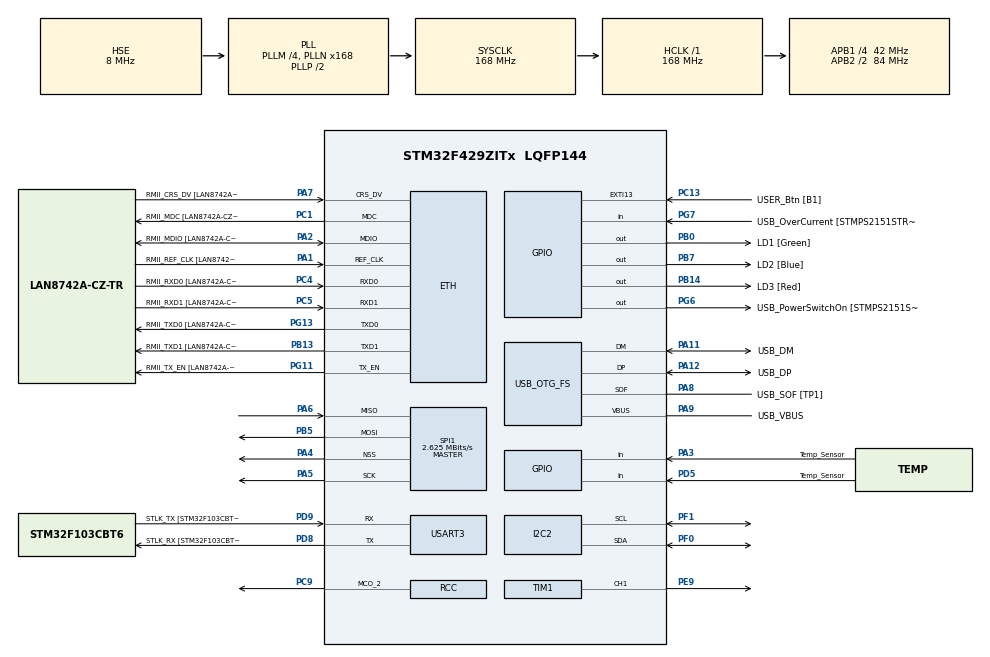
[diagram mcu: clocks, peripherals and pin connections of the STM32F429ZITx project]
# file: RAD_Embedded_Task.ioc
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Dma.I2C2_RX.2.Direction=DMA_PERIPH_TO_MEMORY
Dma.I2C2_RX.2.FIFOMode=DMA_FIFOMODE_DISABLE
Dma.I2C2_RX.2.Instance=DMA1_Stream3
Dma.I2C2_RX.2.MemDataAlignment=DMA_MDATAALIGN_BYTE
Dma.I2C2_RX.2.MemInc=DMA_MINC_ENABLE
Dma.I2C2_RX.2.Mode=DMA_NORMAL
Dma.I2C2_RX.2.PeriphDataAlignment=DMA_PDATAALIGN_BYTE
Dma.I2C2_RX.2.PeriphInc=DMA_PINC_DISABLE
Dma.I2C2_RX.2.Priority=DMA_PRIORITY_LOW
Dma.I2C2_TX.3.Direction=DMA_MEMORY_TO_PERIPH
Dma.I2C2_TX.3.FIFOMode=DMA_FIFOMODE_DISABLE
Dma.I2C2_TX.3.Instance=DMA1_Stream7
Dma.I2C2_TX.3.MemDataAlignment=DMA_MDATAALIGN_BYTE
Dma.I2C2_TX.3.MemInc=DMA_MINC_ENABLE
Dma.I2C2_TX.3.Mode=DMA_NORMAL
Dma.I2C2_TX.3.PeriphDataAlignment=DMA_PDATAALIGN_BYTE
Dma.I2C2_TX.3.PeriphInc=DMA_PINC_DISABLE
Dma.I2C2_TX.3.Priority=DMA_PRIORITY_LOW
Dma.Request0=USART3_RX
Dma.Request1=USART3_TX
Dma.Request2=I2C2_RX
Dma.Request3=I2C2_TX
Dma.Request4=TIM1_CH1
Dma.Request5=SPI1_RX
Dma.Request6=SPI1_TX
Dma.SPI1_RX.5.Direction=DMA_PERIPH_TO_MEMORY
Dma.SPI1_RX.5.FIFOMode=DMA_FIFOMODE_DISABLE
Dma.SPI1_RX.5.Instance=DMA2_Stream2
Dma.SPI1_RX.5.MemDataAlignment=DMA_MDATAALIGN_BYTE
Dma.SPI1_RX.5.MemInc=DMA_MINC_ENABLE
Dma.SPI1_RX.5.Mode=DMA_NORMAL
Dma.SPI1_RX.5.PeriphDataAlignment=DMA_PDATAALIGN_BYTE
Dma.SPI1_RX.5.PeriphInc=DMA_PINC_DISABLE
Dma.SPI1_RX.5.Priority=DMA_PRIORITY_MEDIUM
Dma.SPI1_TX.6.Direction=DMA_MEMORY_TO_PERIPH
Dma.SPI1_TX.6.FIFOMode=DMA_FIFOMODE_DISABLE
Dma.SPI1_TX.6.Instance=DMA2_Stream5
Dma.SPI1_TX.6.MemDataAlignment=DMA_MDATAALIGN_BYTE
Dma.SPI1_TX.6.MemInc=DMA_MINC_ENABLE
Dma.SPI1_TX.6.Mode=DMA_NORMAL
Dma.SPI1_TX.6.PeriphDataAlignment=DMA_PDATAALIGN_BYTE
Dma.SPI1_TX.6.PeriphInc=DMA_PINC_DISABLE
Dma.SPI1_TX.6.Priority=DMA_PRIORITY_MEDIUM
Dma.TIM1_CH1.4.Direction=DMA_MEMORY_TO_PERIPH
Dma.TIM1_CH1.4.FIFOMode=DMA_FIFOMODE_DISABLE
Dma.TIM1_CH1.4.Instance=DMA2_Stream1
Dma.TIM1_CH1.4.MemDataAlignment=DMA_MDATAALIGN_HALFWORD
Dma.TIM1_CH1.4.MemInc=DMA_MINC_ENABLE
Dma.TIM1_CH1.4.Mode=DMA_NORMAL
Dma.TIM1_CH1.4.PeriphDataAlignment=DMA_PDATAALIGN_HALFWORD
Dma.TIM1_CH1.4.PeriphInc=DMA_PINC_DISABLE
Dma.TIM1_CH1.4.Priority=DMA_PRIORITY_LOW
Dma.USART3_RX.0.Direction=DMA_PERIPH_TO_MEMORY
Dma.USART3_RX.0.FIFOMode=DMA_FIFOMODE_DISABLE
Dma.USART3_RX.0.Instance=DMA1_Stream1
Dma.USART3_RX.0.MemDataAlignment=DMA_MDATAALIGN_BYTE
Dma.USART3_RX.0.MemInc=DMA_MINC_ENABLE
Dma.USART3_RX.0.Mode=DMA_NORMAL
Dma.USART3_RX.0.PeriphDataAlignment=DMA_PDATAALIGN_BYTE
Dma.USART3_RX.0.PeriphInc=DMA_PINC_DISABLE
Dma.USART3_RX.0.Priority=DMA_PRIORITY_HIGH
Dma.USART3_TX.1.Direction=DMA_MEMORY_TO_PERIPH
Dma.USART3_TX.1.FIFOMode=DMA_FIFOMODE_DISABLE
Dma.USART3_TX.1.Instance=DMA1_Stream4
Dma.USART3_TX.1.MemDataAlignment=DMA_MDATAALIGN_BYTE
Dma.USART3_TX.1.MemInc=DMA_MINC_ENABLE
Dma.USART3_TX.1.Mode=DMA_NORMAL
Dma.USART3_TX.1.PeriphDataAlignment=DMA_PDATAALIGN_BYTE
Dma.USART3_TX.1.PeriphInc=DMA_PINC_DISABLE
Dma.USART3_TX.1.Priority=DMA_PRIORITY_HIGH
ETH.MediaInterface=HAL_ETH_RMII_MODE
ETH.PHY_Name=LAN8742A_PHY_ADDRESS
ETH.PHY_Value=0
ETH.PhyAddress=0
FATFS._MAX_SS=4096
FREERTOS.Queues01=myQueue01,16,uint16_t,0,Dynamic,NULL,NULL
FREERTOS.Tasks01=RTC_Task,1,256,Start_RTC,Default,NULL,Dynamic,NULL,NULL;UART_LEDTask,0,256,Start_UART_LED,Default,NULL,Dynamic,NULL,NULL;DataLogging_Tas,0,256,Start_DataLogging,Default,NULL,Dynamic,NULL,NULL;FanControl_Task,-1,128,Start_FanControl,Default,NULL,Dynamic,NULL,NULL;TempReading_Tas,2,128,Start_Temp,Default,NULL,Dynamic,NULL,NULL
FREERTOS.configENABLE_FPU=1
FREERTOS.configUSE_NEWLIB_REENTRANT=1
Mcu.Family=STM32F4
Mcu.Name=STM32F429ZITx
Mcu.Package=LQFP144
NVIC.DMA1_Stream1_IRQn=true\:5\:0\:false\:false\:true\:true\:false\:true\:true
NVIC.DMA1_Stream3_IRQn=true\:5\:0\:false\:false\:true\:false\:false\:true\:true
NVIC.DMA1_Stream4_IRQn=true\:5\:0\:false\:false\:true\:false\:false\:true\:true
NVIC.DMA1_Stream7_IRQn=true\:5\:0\:false\:false\:true\:true\:false\:true\:true
NVIC.DMA2_Stream1_IRQn=true\:5\:0\:false\:false\:true\:true\:false\:true\:true
NVIC.DMA2_Stream2_IRQn=true\:5\:0\:false\:false\:true\:false\:false\:true\:true
NVIC.DMA2_Stream5_IRQn=true\:5\:0\:false\:false\:true\:false\:false\:true\:true
NVIC.PriorityGroup=NVIC_PRIORITYGROUP_4
NVIC.TIM2_IRQn=true\:15\:0\:false\:false\:true\:false\:false\:true\:true
NVIC.TimeBase=TIM2_IRQn
NVIC.TimeBaseIP=TIM2
NVIC.USART3_IRQn=true\:5\:0\:false\:false\:true\:true\:true\:true\:true
PA1.GPIO_Label=RMII_REF_CLK [LAN8742A-CZ-TR_REFCLK0]
PA1.Mode=RMII
PA1.Signal=ETH_REF_CLK
PA10.GPIO_Label=USB_ID
PA10.Signal=USB_OTG_FS_ID
PA11.GPIO_Label=USB_DM
PA11.Mode=Device_Only
PA11.Signal=USB_OTG_FS_DM
PA12.GPIO_Label=USB_DP
PA12.Mode=Device_Only
PA12.Signal=USB_OTG_FS_DP
PA13.GPIO_Label=TMS
PA13.Mode=Serial_Wire
PA13.Signal=SYS_JTMS-SWDIO
PA14.GPIO_Label=TCK
PA14.Mode=Serial_Wire
PA14.Signal=SYS_JTCK-SWCLK
PA2.GPIO_Label=RMII_MDIO [LAN8742A-CZ-TR_MDIO]
PA2.Mode=RMII
PA2.Signal=ETH_MDIO
PA3.GPIO_Label=Temp_Sensor
PA3.Signal=GPIO_Input
PA4.Mode=NSS_Signal_Hard_Output
PA4.Signal=SPI1_NSS
PA5.Mode=Full_Duplex_Master
PA5.Signal=SPI1_SCK
PA6.Mode=Full_Duplex_Master
PA6.Signal=SPI1_MISO
PA7.GPIO_Label=RMII_CRS_DV [LAN8742A-CZ-TR_CRS_DV]
PA7.Mode=RMII
PA7.Signal=ETH_CRS_DV
PA8.GPIO_Label=USB_SOF [TP1]
PA8.Mode=Activate_SOF_FS
PA8.Signal=USB_OTG_FS_SOF
PA9.GPIO_Label=USB_VBUS
PA9.Mode=Activate_VBUS
PA9.Signal=USB_OTG_FS_VBUS
PB0.GPIO_Label=LD1 [Green]
PB0.Signal=GPIO_Output
PB13.GPIO_Label=RMII_TXD1 [LAN8742A-CZ-TR_TXD1]
PB13.Mode=RMII
PB13.Signal=ETH_TXD1
PB14.GPIO_Label=LD3 [Red]
PB14.Signal=GPIO_Output
PB5.Mode=Full_Duplex_Master
PB5.Signal=SPI1_MOSI
PB7.GPIO_Label=LD2 [Blue]
PB7.Signal=GPIO_Output
PC1.GPIO_Label=RMII_MDC [LAN8742A-CZ-TR_MDC]
PC1.Mode=RMII
PC1.Signal=ETH_MDC
PC13.GPIO_Label=USER_Btn [B1]
PC13.Signal=GPXTI13
PC14/OSC32_IN.Mode=LSE-External-Oscillator
PC14/OSC32_IN.Signal=RCC_OSC32_IN
PC15/OSC32_OUT.Mode=LSE-External-Oscillator
PC15/OSC32_OUT.Signal=RCC_OSC32_OUT
PC4.GPIO_Label=RMII_RXD0 [LAN8742A-CZ-TR_RXD0]
PC4.Mode=RMII
PC4.Signal=ETH_RXD0
PC5.GPIO_Label=RMII_RXD1 [LAN8742A-CZ-TR_RXD1]
PC5.Mode=RMII
PC5.Signal=ETH_RXD1
PC9.Mode=Clock-out-2
PC9.Signal=RCC_MCO_2
PD5.GPIO_Label=Temp_Sensor
PD5.Signal=GPIO_Input
PD8.GPIO_Label=STLK_RX [STM32F103CBT6_PA3]
PD8.Mode=Asynchronous
PD8.Signal=USART3_TX
PD9.GPIO_Label=STLK_TX [STM32F103CBT6_PA2]
PD9.Mode=Asynchronous
PD9.Signal=USART3_RX
PE9.Signal=S_TIM1_CH1
PF0.Mode=I2C
PF0.Signal=I2C2_SDA
PF1.Mode=I2C
PF1.Signal=I2C2_SCL
PG11.GPIO_Label=RMII_TX_EN [LAN8742A-CZ-TR_TXEN]
PG11.Mode=RMII
PG11.Signal=ETH_TX_EN
PG13.GPIO_Label=RMII_TXD0 [LAN8742A-CZ-TR_TXD0]
PG13.Mode=RMII
PG13.Signal=ETH_TXD0
PG6.GPIO_Label=USB_PowerSwitchOn [STMPS2151STR_EN]
PG6.Signal=GPIO_Output
PG7.GPIO_Label=USB_OverCurrent [STMPS2151STR_FAULT]
PG7.Signal=GPIO_Input
PH0/OSC_IN.GPIO_Label=MCO [STM32F103CBT6_PA8]
PH0/OSC_IN.Mode=HSE-External-Oscillator
PH0/OSC_IN.Signal=RCC_OSC_IN
PH1/OSC_OUT.Mode=HSE-External-Oscillator
PH1/OSC_OUT.Signal=RCC_OSC_OUT
ProjectManager.HeapSize=0x200
ProjectManager.StackSize=0x400
ProjectManager.TargetToolchain=STM32CubeIDE
RCC.48MHZClocksFreq_Value=48000000
RCC.AHBFreq_Value=168000000
RCC.APB1CLKDivider=RCC_HCLK_DIV4
RCC.APB1Freq_Value=42000000
RCC.APB1TimFreq_Value=84000000
RCC.APB2CLKDivider=RCC_HCLK_DIV2
RCC.APB2Freq_Value=84000000
RCC.APB2TimCLKDivider=2
RCC.APB2TimFreq_Value=168000000
RCC.CortexFreq_Value=168000000
RCC.HCLKFreq_Value=168000000
RCC.HSE_VALUE=8000000
RCC.HSI_VALUE=16000000
RCC.PLLM=4
RCC.PLLMUL=RCC_PLL_MUL9
RCC.PLLN=168
RCC.PLLQ=7
RCC.PRESCALERUSB=RCC_USBCLKSOURCE_PLL_DIV1_5
RCC.RCC_MCODiv2=RCC_MCODIV_2
RCC.SYSCLKFreq_VALUE=168000000
RCC.SYSCLKSource=RCC_SYSCLKSOURCE_PLLCLK
RCC.SYSCLKSourceVirtual=RCC_SYSCLKSOURCE_PLLCLK
RCC.USBFreq_Value=48000000
RCC.VCOOutputFreq_Value=336000000
SH.S_TIM1_CH1.0=TIM1_CH1,PWM Generation1 CH1
SPI1.BaudRatePrescaler=SPI_BAUDRATEPRESCALER_32
SPI1.CalculateBaudRate=2.625 MBits/s
SPI1.Direction=SPI_DIRECTION_2LINES
SPI1.Mode=SPI_MODE_MASTER
SPI1.VirtualNSS=VM_NSSHARD
SPI1.VirtualType=VM_MASTER
TIM1.Channel-PWM\ Generation1\ CH1=TIM_CHANNEL_1
TIM1.Period=100-1
TIM1.Prescaler=168-1
TIM3.Period=1000
TIM3.Prescaler=84-1
USART3.VirtualMode=VM_ASYNC
USB_OTG_FS.VirtualMode=Device_Only
VP_FATFS_VS_Generic.Mode=User_defined
VP_FREERTOS_VS_CMSIS_V1.Mode=CMSIS_V1
VP_SYS_VS_tim2.Mode=TIM2
VP_TIM1_VS_ClockSourceINT.Mode=Internal
VP_TIM3_VS_ClockSourceINT.Mode=Internal
board=NUCLEO-F429ZI

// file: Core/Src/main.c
/* USER CODE BEGIN Header */
/**
  ******************************************************************************
  * @file           : main.c
  * @brief          : Main program body
  ******************************************************************************
  * @attention
  *
  * Copyright (c) 2024 STMicroelectronics.
  * All rights reserved.
  *
  * This software is licensed under terms that can be found in the LICENSE file
  * in the root directory of this software component.
  * If no LICENSE file comes with this software, it is provided AS-IS.
  *
  ******************************************************************************
  */
/* USER CODE END Header */
#include "main.h"
#include "string.h"
#include "cmsis_os.h"
#include "fatfs.h"

/* USER CODE BEGIN Includes */
//#include "gpio.h"
//#include "tim.h"
#include "onewire.h"
#include "ds18b20.h"
/* USER CODE END Includes */

ETH_TxPacketConfig TxConfig;
ETH_DMADescTypeDef  DMARxDscrTab[ETH_RX_DESC_CNT]; /* Ethernet Rx DMA Descriptors */
ETH_DMADescTypeDef  DMATxDscrTab[ETH_TX_DESC_CNT]; /* Ethernet Tx DMA Descriptors */

ETH_HandleTypeDef heth;

I2C_HandleTypeDef hi2c2;
DMA_HandleTypeDef hdma_i2c2_rx;
DMA_HandleTypeDef hdma_i2c2_tx;

SPI_HandleTypeDef hspi1;
DMA_HandleTypeDef hdma_spi1_rx;
DMA_HandleTypeDef hdma_spi1_tx;

TIM_HandleTypeDef htim1;
TIM_HandleTypeDef htim3;
DMA_HandleTypeDef hdma_tim1_ch1;

UART_HandleTypeDef huart3;
DMA_HandleTypeDef hdma_usart3_rx;
DMA_HandleTypeDef hdma_usart3_tx;

PCD_HandleTypeDef hpcd_USB_OTG_FS;

osThreadId RTC_TaskHandle;
osThreadId UART_LEDTaskHandle;
osThreadId DataLogging_TasHandle;
osThreadId FanControl_TaskHandle;
osThreadId TempReading_TasHandle;
osMessageQId myQueue01Handle;
/* USER CODE BEGIN PV */

static const uint8_t DS1307_ADDR = 0x68 <<1;
//static const uint8_t REG_RTC = 0x00;

uint8_t uart_bfr, cmd;
uint16_t buffer_counter=0;
uint8_t led_status;
uint8_t cmdstate=0;
uint32_t blinktimer;
uint8_t blinkstatus;
uint8_t uart_buffer[128];
static uint8_t UART_SendFlag=1;
uint8_t menu_cmd[]={"\
  \r\nToggle GREEN LED     ----> 1 \
  \r\nToggle BLUE LED      ----> 2 \
  \r\nToggle RED LED       ----> 3 \
  \r\nType your option here : \n"};

/* USER CODE END PV */

void SystemClock_Config(void);
static void MX_GPIO_Init(void);
static void MX_DMA_Init(void);
static void MX_ETH_Init(void);
static void MX_USART3_UART_Init(void);
static void MX_USB_OTG_FS_PCD_Init(void);
static void MX_TIM1_Init(void);
static void MX_I2C2_Init(void);
static void MX_SPI1_Init(void);
static void MX_TIM3_Init(void);
void Start_RTC(void const * argument);
void Start_UART_LED(void const * argument);
void Start_DataLogging(void const * argument);
void Start_FanControl(void const * argument);
void Start_Temp(void const * argument);

/* USER CODE BEGIN 0 */

/*Configure GPIO pin : Temp_Sensor_Pin */
void delay(uint32_t us)
  {
      __HAL_TIM_SET_COUNTER(&htim1,0);
      while ((__HAL_TIM_GET_COUNTER(&htim1))<us);
  }

/* USER CODE END 0 */

int main(void)
{

  /* MCU Configuration--------------------------------------------------------*/

  /* Reset of all peripherals, Initializes the Flash interface and the Systick. */
  HAL_Init();

  /* Configure the system clock */
  SystemClock_Config();

  /* Initialize all configured peripherals */
  MX_GPIO_Init();
  MX_DMA_Init();
  MX_ETH_Init();
  MX_USART3_UART_Init();
  MX_USB_OTG_FS_PCD_Init();
  MX_TIM1_Init();
  MX_I2C2_Init();
  MX_SPI1_Init();
  MX_FATFS_Init();
  MX_TIM3_Init();
  /* USER CODE BEGIN 2 */
  HAL_TIM_Base_Start(&htim1);

  //Setting up the time

  /* USER CODE END 2 */

  /* Create the queue(s) */
  /* definition and creation of myQueue01 */
  osMessageQDef(myQueue01, 16, uint16_t);
  myQueue01Handle = osMessageCreate(osMessageQ(myQueue01), NULL);

  /* Create the thread(s) */
  /* definition and creation of RTC_Task */
  osThreadDef(RTC_Task, Start_RTC, osPriorityAboveNormal, 0, 256);
  RTC_TaskHandle = osThreadCreate(osThread(RTC_Task), NULL);

  /* definition and creation of UART_LEDTask */
  osThreadDef(UART_LEDTask, Start_UART_LED, osPriorityNormal, 0, 256);
  UART_LEDTaskHandle = osThreadCreate(osThread(UART_LEDTask), NULL);

  /* definition and creation of DataLogging_Tas */
  osThreadDef(DataLogging_Tas, Start_DataLogging, osPriorityNormal, 0, 256);
  DataLogging_TasHandle = osThreadCreate(osThread(DataLogging_Tas), NULL);

  /* definition and creation of FanControl_Task */
  osThreadDef(FanControl_Task, Start_FanControl, osPriorityBelowNormal, 0, 128);
  FanControl_TaskHandle = osThreadCreate(osThread(FanControl_Task), NULL);

  /* definition and creation of TempReading_Tas */
  osThreadDef(TempReading_Tas, Start_Temp, osPriorityHigh, 0, 128);
  TempReading_TasHandle = osThreadCreate(osThread(TempReading_Tas), NULL);

  /* Start scheduler */
  osKernelStart();

  /* We should never get here as control is now taken by the scheduler */
  /* Infinite loop */
  while (1)
  {

    /* USER CODE BEGIN 3 */

//	  Presence = DS18B20_Start();
//	  HAL_Delay (1);
//	  DS18B20_Write (0xCC);  // skip ROM
//	  DS18B20_Write (0x44);  // convert t
//	  HAL_Delay (800);
//
//	  Presence = DS18B20_Start ();
//	  HAL_Delay(1);
//	  DS18B20_Write (0xCC);  // skip ROM
//	  DS18B20_Write (0xBE);  // Read Scratch-pad
//
//	  Temp_byte1 = DS18B20_Read();
//	  Temp_byte2 = DS18B20_Read();
//	  TEMP = (Temp_byte2<<8)|Temp_byte1;
//	  temperature = (float)TEMP/16;
//	  HAL_Delay(500);
  }
  /* USER CODE END 3 */
}

void SystemClock_Config(void)
{
  RCC_OscInitTypeDef RCC_OscInitStruct = {0};
  RCC_ClkInitTypeDef RCC_ClkInitStruct = {0};

  /** Configure the main internal regulator output voltage
  */
  __HAL_RCC_PWR_CLK_ENABLE();
  __HAL_PWR_VOLTAGESCALING_CONFIG(PWR_REGULATOR_VOLTAGE_SCALE1);

  /** Initializes the RCC Oscillators according to the specified parameters
  * in the RCC_OscInitTypeDef structure.
  */
  RCC_OscInitStruct.OscillatorType = RCC_OSCILLATORTYPE_HSE;
  RCC_OscInitStruct.HSEState = RCC_HSE_ON;
  RCC_OscInitStruct.PLL.PLLState = RCC_PLL_ON;
  RCC_OscInitStruct.PLL.PLLSource = RCC_PLLSOURCE_HSE;
  RCC_OscInitStruct.PLL.PLLM = 4;
  RCC_OscInitStruct.PLL.PLLN = 168;
  RCC_OscInitStruct.PLL.PLLP = RCC_PLLP_DIV2;
  RCC_OscInitStruct.PLL.PLLQ = 7;
  if (HAL_RCC_OscConfig(&RCC_OscInitStruct) != HAL_OK)
  {
    Error_Handler();
  }

  /** Initializes the CPU, AHB and APB buses clocks
  */
  RCC_ClkInitStruct.ClockType = RCC_CLOCKTYPE_HCLK|RCC_CLOCKTYPE_SYSCLK
                              |RCC_CLOCKTYPE_PCLK1|RCC_CLOCKTYPE_PCLK2;
  RCC_ClkInitStruct.SYSCLKSource = RCC_SYSCLKSOURCE_PLLCLK;
  RCC_ClkInitStruct.AHBCLKDivider = RCC_SYSCLK_DIV1;
  RCC_ClkInitStruct.APB1CLKDivider = RCC_HCLK_DIV4;
  RCC_ClkInitStruct.APB2CLKDivider = RCC_HCLK_DIV2;

  if (HAL_RCC_ClockConfig(&RCC_ClkInitStruct, FLASH_LATENCY_5) != HAL_OK)
  {
    Error_Handler();
  }
  HAL_RCC_MCOConfig(RCC_MCO2, RCC_MCO2SOURCE_SYSCLK, RCC_MCODIV_2);
}

static void MX_ETH_Init(void)
{

   static uint8_t MACAddr[6];

  heth.Instance = ETH;
  MACAddr[0] = 0x00;
  MACAddr[1] = 0x80;
  MACAddr[2] = 0xE1;
  MACAddr[3] = 0x00;
  MACAddr[4] = 0x00;
  MACAddr[5] = 0x00;
  heth.Init.MACAddr = &MACAddr[0];
  heth.Init.MediaInterface = HAL_ETH_RMII_MODE;
  heth.Init.TxDesc = DMATxDscrTab;
  heth.Init.RxDesc = DMARxDscrTab;
  heth.Init.RxBuffLen = 1524;

  if (HAL_ETH_Init(&heth) != HAL_OK)
  {
    Error_Handler();
  }

  memset(&TxConfig, 0 , sizeof(ETH_TxPacketConfig));
  TxConfig.Attributes = ETH_TX_PACKETS_FEATURES_CSUM | ETH_TX_PACKETS_FEATURES_CRCPAD;
  TxConfig.ChecksumCtrl = ETH_CHECKSUM_IPHDR_PAYLOAD_INSERT_PHDR_CALC;
  TxConfig.CRCPadCtrl = ETH_CRC_PAD_INSERT;

}

static void MX_I2C2_Init(void)
{

  hi2c2.Instance = I2C2;
  hi2c2.Init.ClockSpeed = 100000;
  hi2c2.Init.DutyCycle = I2C_DUTYCYCLE_2;
  hi2c2.Init.OwnAddress1 = 0;
  hi2c2.Init.AddressingMode = I2C_ADDRESSINGMODE_7BIT;
  hi2c2.Init.DualAddressMode = I2C_DUALADDRESS_DISABLE;
  hi2c2.Init.OwnAddress2 = 0;
  hi2c2.Init.GeneralCallMode = I2C_GENERALCALL_DISABLE;
  hi2c2.Init.NoStretchMode = I2C_NOSTRETCH_DISABLE;
  if (HAL_I2C_Init(&hi2c2) != HAL_OK)
  {
    Error_Handler();
  }

  /** Configure Analogue filter
  */
  if (HAL_I2CEx_ConfigAnalogFilter(&hi2c2, I2C_ANALOGFILTER_ENABLE) != HAL_OK)
  {
    Error_Handler();
  }

  /** Configure Digital filter
  */
  if (HAL_I2CEx_ConfigDigitalFilter(&hi2c2, 0) != HAL_OK)
  {
    Error_Handler();
  }

}

static void MX_SPI1_Init(void)
{

  /* SPI1 parameter configuration*/
  hspi1.Instance = SPI1;
  hspi1.Init.Mode = SPI_MODE_MASTER;
  hspi1.Init.Direction = SPI_DIRECTION_2LINES;
  hspi1.Init.DataSize = SPI_DATASIZE_8BIT;
  hspi1.Init.CLKPolarity = SPI_POLARITY_LOW;
  hspi1.Init.CLKPhase = SPI_PHASE_1EDGE;
  hspi1.Init.NSS = SPI_NSS_HARD_OUTPUT;
  hspi1.Init.BaudRatePrescaler = SPI_BAUDRATEPRESCALER_32;
  hspi1.Init.FirstBit = SPI_FIRSTBIT_MSB;
  hspi1.Init.TIMode = SPI_TIMODE_DISABLE;
  hspi1.Init.CRCCalculation = SPI_CRCCALCULATION_DISABLE;
  hspi1.Init.CRCPolynomial = 10;
  if (HAL_SPI_Init(&hspi1) != HAL_OK)
  {
    Error_Handler();
  }

}

static void MX_TIM1_Init(void)
{

  TIM_ClockConfigTypeDef sClockSourceConfig = {0};
  TIM_MasterConfigTypeDef sMasterConfig = {0};
  TIM_OC_InitTypeDef sConfigOC = {0};
  TIM_BreakDeadTimeConfigTypeDef sBreakDeadTimeConfig = {0};

  htim1.Instance = TIM1;
  htim1.Init.Prescaler = 168-1;
  htim1.Init.CounterMode = TIM_COUNTERMODE_UP;
  htim1.Init.Period = 100-1;
  htim1.Init.ClockDivision = TIM_CLOCKDIVISION_DIV1;
  htim1.Init.RepetitionCounter = 0;
  htim1.Init.AutoReloadPreload = TIM_AUTORELOAD_PRELOAD_DISABLE;
  if (HAL_TIM_Base_Init(&htim1) != HAL_OK)
  {
    Error_Handler();
  }
  sClockSourceConfig.ClockSource = TIM_CLOCKSOURCE_INTERNAL;
  if (HAL_TIM_ConfigClockSource(&htim1, &sClockSourceConfig) != HAL_OK)
  {
    Error_Handler();
  }
  if (HAL_TIM_PWM_Init(&htim1) != HAL_OK)
  {
    Error_Handler();
  }
  sMasterConfig.MasterOutputTrigger = TIM_TRGO_RESET;
  sMasterConfig.MasterSlaveMode = TIM_MASTERSLAVEMODE_DISABLE;
  if (HAL_TIMEx_MasterConfigSynchronization(&htim1, &sMasterConfig) != HAL_OK)
  {
    Error_Handler();
  }
  sConfigOC.OCMode = TIM_OCMODE_PWM1;
  sConfigOC.Pulse = 0;
  sConfigOC.OCPolarity = TIM_OCPOLARITY_HIGH;
  sConfigOC.OCNPolarity = TIM_OCNPOLARITY_HIGH;
  sConfigOC.OCFastMode = TIM_OCFAST_DISABLE;
  sConfigOC.OCIdleState = TIM_OCIDLESTATE_RESET;
  sConfigOC.OCNIdleState = TIM_OCNIDLESTATE_RESET;
  if (HAL_TIM_PWM_ConfigChannel(&htim1, &sConfigOC, TIM_CHANNEL_1) != HAL_OK)
  {
    Error_Handler();
  }
  sBreakDeadTimeConfig.OffStateRunMode = TIM_OSSR_DISABLE;
  sBreakDeadTimeConfig.OffStateIDLEMode = TIM_OSSI_DISABLE;
  sBreakDeadTimeConfig.LockLevel = TIM_LOCKLEVEL_OFF;
  sBreakDeadTimeConfig.DeadTime = 0;
  sBreakDeadTimeConfig.BreakState = TIM_BREAK_DISABLE;
  sBreakDeadTimeConfig.BreakPolarity = TIM_BREAKPOLARITY_HIGH;
  sBreakDeadTimeConfig.AutomaticOutput = TIM_AUTOMATICOUTPUT_DISABLE;
  if (HAL_TIMEx_ConfigBreakDeadTime(&htim1, &sBreakDeadTimeConfig) != HAL_OK)
  {
    Error_Handler();
  }
  HAL_TIM_MspPostInit(&htim1);

}

static void MX_TIM3_Init(void)
{

  TIM_ClockConfigTypeDef sClockSourceConfig = {0};
  TIM_MasterConfigTypeDef sMasterConfig = {0};

  htim3.Instance = TIM3;
  htim3.Init.Prescaler = 84-1;
  htim3.Init.CounterMode = TIM_COUNTERMODE_UP;
  htim3.Init.Period = 65535;
  htim3.Init.ClockDivision = TIM_CLOCKDIVISION_DIV1;
  htim3.Init.AutoReloadPreload = TIM_AUTORELOAD_PRELOAD_DISABLE;
  if (HAL_TIM_Base_Init(&htim3) != HAL_OK)
  {
    Error_Handler();
  }
  sClockSourceConfig.ClockSource = TIM_CLOCKSOURCE_INTERNAL;
  if (HAL_TIM_ConfigClockSource(&htim3, &sClockSourceConfig) != HAL_OK)
  {
    Error_Handler();
  }
  sMasterConfig.MasterOutputTrigger = TIM_TRGO_RESET;
  sMasterConfig.MasterSlaveMode = TIM_MASTERSLAVEMODE_DISABLE;
  if (HAL_TIMEx_MasterConfigSynchronization(&htim3, &sMasterConfig) != HAL_OK)
  {
    Error_Handler();
  }

}

static void MX_USART3_UART_Init(void)
{

  huart3.Instance = USART3;
  huart3.Init.BaudRate = 115200;
  huart3.Init.WordLength = UART_WORDLENGTH_8B;
  huart3.Init.StopBits = UART_STOPBITS_1;
  huart3.Init.Parity = UART_PARITY_NONE;
  huart3.Init.Mode = UART_MODE_TX_RX;
  huart3.Init.HwFlowCtl = UART_HWCONTROL_NONE;
  huart3.Init.OverSampling = UART_OVERSAMPLING_16;
  if (HAL_UART_Init(&huart3) != HAL_OK)
  {
    Error_Handler();
  }

}

static void MX_USB_OTG_FS_PCD_Init(void)
{

  hpcd_USB_OTG_FS.Instance = USB_OTG_FS;
  hpcd_USB_OTG_FS.Init.dev_endpoints = 4;
  hpcd_USB_OTG_FS.Init.speed = PCD_SPEED_FULL;
  hpcd_USB_OTG_FS.Init.dma_enable = DISABLE;
  hpcd_USB_OTG_FS.Init.phy_itface = PCD_PHY_EMBEDDED;
  hpcd_USB_OTG_FS.Init.Sof_enable = ENABLE;
  hpcd_USB_OTG_FS.Init.low_power_enable = DISABLE;
  hpcd_USB_OTG_FS.Init.lpm_enable = DISABLE;
  hpcd_USB_OTG_FS.Init.vbus_sensing_enable = ENABLE;
  hpcd_USB_OTG_FS.Init.use_dedicated_ep1 = DISABLE;
  if (HAL_PCD_Init(&hpcd_USB_OTG_FS) != HAL_OK)
  {
    Error_Handler();
  }

}

static void MX_DMA_Init(void)
{

  /* DMA controller clock enable */
  __HAL_RCC_DMA1_CLK_ENABLE();
  __HAL_RCC_DMA2_CLK_ENABLE();

  /* DMA interrupt init */
  /* DMA1_Stream1_IRQn interrupt configuration */
  HAL_NVIC_SetPriority(DMA1_Stream1_IRQn, 5, 0);
  HAL_NVIC_EnableIRQ(DMA1_Stream1_IRQn);
  /* DMA1_Stream3_IRQn interrupt configuration */
  HAL_NVIC_SetPriority(DMA1_Stream3_IRQn, 5, 0);
  HAL_NVIC_EnableIRQ(DMA1_Stream3_IRQn);
  /* DMA1_Stream4_IRQn interrupt configuration */
  HAL_NVIC_SetPriority(DMA1_Stream4_IRQn, 5, 0);
  HAL_NVIC_EnableIRQ(DMA1_Stream4_IRQn);
  /* DMA1_Stream7_IRQn interrupt configuration */
  HAL_NVIC_SetPriority(DMA1_Stream7_IRQn, 5, 0);
  HAL_NVIC_EnableIRQ(DMA1_Stream7_IRQn);
  /* DMA2_Stream1_IRQn interrupt configuration */
  HAL_NVIC_SetPriority(DMA2_Stream1_IRQn, 5, 0);
  HAL_NVIC_EnableIRQ(DMA2_Stream1_IRQn);
  /* DMA2_Stream2_IRQn interrupt configuration */
  HAL_NVIC_SetPriority(DMA2_Stream2_IRQn, 5, 0);
  HAL_NVIC_EnableIRQ(DMA2_Stream2_IRQn);
  /* DMA2_Stream5_IRQn interrupt configuration */
  HAL_NVIC_SetPriority(DMA2_Stream5_IRQn, 5, 0);
  HAL_NVIC_EnableIRQ(DMA2_Stream5_IRQn);

}

static void MX_GPIO_Init(void)
{
  GPIO_InitTypeDef GPIO_InitStruct = {0};

  /* GPIO Ports Clock Enable */
  __HAL_RCC_GPIOC_CLK_ENABLE();
  __HAL_RCC_GPIOF_CLK_ENABLE();
  __HAL_RCC_GPIOH_CLK_ENABLE();
  __HAL_RCC_GPIOA_CLK_ENABLE();
  __HAL_RCC_GPIOB_CLK_ENABLE();
  __HAL_RCC_GPIOE_CLK_ENABLE();
  __HAL_RCC_GPIOD_CLK_ENABLE();
  __HAL_RCC_GPIOG_CLK_ENABLE();

  /*Configure GPIO pin Output Level */
  HAL_GPIO_WritePin(GPIOB, LD1_Pin|LD3_Pin|LD2_Pin, GPIO_PIN_RESET);

  /*Configure GPIO pin Output Level */
  HAL_GPIO_WritePin(USB_PowerSwitchOn_GPIO_Port, USB_PowerSwitchOn_Pin, GPIO_PIN_RESET);

  /*Configure GPIO pin : USER_Btn_Pin */
  GPIO_InitStruct.Pin = USER_Btn_Pin;
  GPIO_InitStruct.Mode = GPIO_MODE_IT_RISING;
  GPIO_InitStruct.Pull = GPIO_NOPULL;
  HAL_GPIO_Init(USER_Btn_GPIO_Port, &GPIO_InitStruct);

  /*Configure GPIO pin : Temp_Sensor_Pin */
  GPIO_InitStruct.Pin = Temp_Sensor_Pin;
  GPIO_InitStruct.Mode = GPIO_MODE_INPUT;
  GPIO_InitStruct.Pull = GPIO_NOPULL;
  HAL_GPIO_Init(Temp_Sensor_GPIO_Port, &GPIO_InitStruct);

  /*Configure GPIO pins : LD1_Pin LD3_Pin LD2_Pin */
  GPIO_InitStruct.Pin = LD1_Pin|LD3_Pin|LD2_Pin;
  GPIO_InitStruct.Mode = GPIO_MODE_OUTPUT_PP;
  GPIO_InitStruct.Pull = GPIO_NOPULL;
  GPIO_InitStruct.Speed = GPIO_SPEED_FREQ_LOW;
  HAL_GPIO_Init(GPIOB, &GPIO_InitStruct);

  /*Configure GPIO pin : USB_PowerSwitchOn_Pin */
  GPIO_InitStruct.Pin = USB_PowerSwitchOn_Pin;
  GPIO_InitStruct.Mode = GPIO_MODE_OUTPUT_PP;
  GPIO_InitStruct.Pull = GPIO_NOPULL;
  GPIO_InitStruct.Speed = GPIO_SPEED_FREQ_LOW;
  HAL_GPIO_Init(USB_PowerSwitchOn_GPIO_Port, &GPIO_InitStruct);

  /*Configure GPIO pin : USB_OverCurrent_Pin */
  GPIO_InitStruct.Pin = USB_OverCurrent_Pin;
  GPIO_InitStruct.Mode = GPIO_MODE_INPUT;
  GPIO_InitStruct.Pull = GPIO_NOPULL;
  HAL_GPIO_Init(USB_OverCurrent_GPIO_Port, &GPIO_InitStruct);

  /*Configure GPIO pin : PC9 */
  GPIO_InitStruct.Pin = GPIO_PIN_9;
  GPIO_InitStruct.Mode = GPIO_MODE_AF_PP;
  GPIO_InitStruct.Pull = GPIO_NOPULL;
  GPIO_InitStruct.Speed = GPIO_SPEED_FREQ_LOW;
  GPIO_InitStruct.Alternate = GPIO_AF0_MCO;
  HAL_GPIO_Init(GPIOC, &GPIO_InitStruct);

  /*Configure GPIO pin : Temp_SensorD5_Pin */
  GPIO_InitStruct.Pin = Temp_SensorD5_Pin;
  GPIO_InitStruct.Mode = GPIO_MODE_INPUT;
  GPIO_InitStruct.Pull = GPIO_NOPULL;
  HAL_GPIO_Init(Temp_SensorD5_GPIO_Port, &GPIO_InitStruct);

}

/* USER CODE BEGIN Header_Start_RTC */
/**
  * @brief  Function implementing the RTC_Task thread.
  * @param  argument: Not used
  * @retval None
  */
// Convert normal decimal numbers to binary coded decimal
 uint8_t decToBcd(int val)
 {
   return (uint8_t)( (val/10*16) + (val%10) );
 }

 // Convert binary coded decimal to normal decimal numbers
 int bcdToDec(uint8_t val)
 {
   return (int)( (val/16*10) + (val%16) );
 }

 typedef struct {
	 uint8_t seconds;
	 uint8_t minutes;
	 uint8_t hour;
	 uint8_t dayofweek;
	 uint8_t dayofmonth;
	 uint8_t month;
	 uint8_t year;
 } TIME;

 TIME time;

 /* function to set time */
 void Set_Time (uint8_t sec, uint8_t min, uint8_t hour, uint8_t dow, uint8_t dom, uint8_t month, uint8_t year)
 {
 	uint8_t set_time[7];
 	set_time[0] = decToBcd(sec);
 	set_time[1] = decToBcd(min);
 	set_time[2] = decToBcd(hour);
 	set_time[3] = decToBcd(dow);
 	set_time[4] = decToBcd(dom);
 	set_time[5] = decToBcd(month);
 	set_time[6] = decToBcd(year);

 	HAL_I2C_Mem_Write(&hi2c2, DS1307_ADDR, 0x00, 1, set_time, 7, 1000);
// 	HAL_I2C_Mem_Write_DMA(&hi2c2, DS1307_ADDR, 0x00, 1, set_time, 7);
 }

 void Get_Time (void)
 {
 	uint8_t get_time[7];
// 	HAL_I2C_Mem_Read(&hi2c2, DS1307_ADDR, 0x00, 1, get_time, 7, 1000);
 	HAL_I2C_Mem_Read_DMA(&hi2c2, DS1307_ADDR, 0x00, 1, get_time, 7);
 	time.seconds = bcdToDec(get_time[0]);
 	time.minutes = bcdToDec(get_time[1]);
 	time.hour = bcdToDec(get_time[2]);
 	time.dayofweek = bcdToDec(get_time[3]);
 	time.dayofmonth = bcdToDec(get_time[4]);
 	time.month = bcdToDec(get_time[5]);
 	time.year = bcdToDec(get_time[6]);
 }

char time_buffer[10];
/* USER CODE END Header_Start_RTC */
void Start_RTC(void const * argument)
{
  /* USER CODE BEGIN 5 */
//	Set_Time(00, 03, 14, 4, 15, 2, 24);
  /* Infinite loop */
  for(;;)
  {
	  Get_Time();
	  sprintf(time_buffer, "%02d:%02d:%02d",time.hour,time.minutes,time.seconds);
//	  sprintf ((char*)uart_buffer,"LED Status %d\r",led_status);
	  send_uart_dma(time_buffer, strlen((char*)time_buffer));
	  osDelay(1000);
  }
  /* USER CODE END 5 */
}

/* USER CODE BEGIN Header_Start_UART_LED */
/**
* @brief Function implementing the UART_LEDTask thread.
* @param argument: Not used
* @retval None
*/
void send_uart_dma(uint8_t* ptr, uint16_t len){
	while(!UART_SendFlag);

	UART_SendFlag=0;
	HAL_UART_Transmit_DMA(&huart3, (uint8_t*)ptr, len);

}

void HAL_UART_RxCpltCallback(UART_HandleTypeDef *huart){

	if((uart_bfr!=0x0D)&&(uart_bfr!=0x0A)){
		cmd=uart_bfr;
	}
	if(uart_bfr==0x0D){
		cmdstate=1;
	}

	HAL_UART_Receive_DMA(&huart3,&uart_bfr, 1);

}

void HAL_UART_TxCpltCallback(UART_HandleTypeDef *huart){
	UART_SendFlag=1;
}
/* USER CODE END Header_Start_UART_LED */
void Start_UART_LED(void const * argument)
{
  /* USER CODE BEGIN Start_UART_LED */

	send_uart_dma(menu_cmd, strlen((char*)menu_cmd));
	HAL_UART_Receive_DMA(&huart3,&uart_bfr, 1);
  /* Infinite loop */
  for(;;)
  {
	  if(cmdstate){
	      	cmdstate=0;

	      	//process command
	      	switch (cmd){
	      	case '1':
	      		HAL_GPIO_TogglePin (GPIOB, LD1_Pin);
	      		break;
	      	case '2':
	      		HAL_GPIO_TogglePin (GPIOB, LD2_Pin);
	      		break;
	      	case '3':
	      		HAL_GPIO_TogglePin (GPIOB, LD3_Pin);
	      		break;
	      	}

	      	send_uart_dma(menu_cmd, strlen((char*)menu_cmd));

	      	}

    osDelay(1);
  }
  /* USER CODE END Start_UART_LED */
}

/* USER CODE BEGIN Header_Start_DataLogging */
/**
* @brief Function implementing the DataLogging_Tas thread.
* @param argument: Not used
* @retval None
*/
//SD Card
FATFS fs;
FIL fil;
FRESULT fresult; //to store result
char SD_buffer[1024]; //to store data

UINT br, bw; //file read/write count
FATFS *pfs; //For checking the capacity
DWORD fre_clust;
uint32_t total, free_space;

void send_uart (char *string){
	uint8_t len = strlen(string);
	HAL_UART_Transmit(&huart3,(uint8_t *)string,len,2000);
}

int bufsize(char *buf){
	int i=0;
	while(*buf++ !='\0') i++;
	return i;
}

void bufclear(void){
	for(int i=0;i<1024;i++){
		SD_buffer[i]= '\0';
	}
}
/* USER CODE END Header_Start_DataLogging */
void Start_DataLogging(void const * argument)
{
  /* USER CODE BEGIN Start_DataLogging */
	fresult = f_mount(&fs,"",0);
//	if(fresult != FR_OK) send_uart("error in mounting SD CARD...\n");
//	else send_uart("SD Card mounted successfully...\n");
	fresult = f_open(&fil,"file1.txt",FA_OPEN_ALWAYS|FA_READ|FA_WRITE);
	strcpy(SD_buffer,"This data is from file\n\n");
	fresult = f_write(&fil,SD_buffer,bufsize(SD_buffer),&bw);
	fresult = f_close(&fil);
	bufclear();
	unsigned long ptr = 0;
  /* Infinite loop */
  for(;;)
  {
	fresult = f_open(&fil,"file2.txt",FA_OPEN_ALWAYS|FA_WRITE);
	fresult = f_lseek(&fil, ptr);
	fresult = f_puts(time_buffer,&fil);
	ptr+=bufsize(time_buffer);
	fresult = f_puts(",\n",&fil);
	ptr+=2;
//	fresult = f_write(&fil,time_buffer,bufsize(time_buffer),&bw);
	fresult = f_close(&fil);
	bufclear();

//	fresult = f_lseek(&fil,fil.fptr);
//	fresult = f_puts(time_buffer,&fil);
//	fresult = f_puts(",",&fil);
//	//fresult = f_puts(fan_speed,&fil);
//	fresult = f_puts("\n\n",&fil);
////	fresult = f_close(&fil);
    osDelay(1000);
  }
  /* USER CODE END Start_DataLogging */
}

/* USER CODE BEGIN Header_Start_FanControl */
/**
* @brief Function implementing the FanControl_Task thread.
* @param argument: Not used
* @retval None
*/

char fan_speed[20];
/* USER CODE END Header_Start_FanControl */
void Start_FanControl(void const * argument)
{
  /* USER CODE BEGIN Start_FanControl */
	uint8_t sp = 45;
	TIM1->CCR1 = 50;
	HAL_TIM_PWM_Start(&htim1,TIM_CHANNEL_1);
  /* Infinite loop */
  for(;;)
  {
	for(uint8_t i =0;i<100;i++){
		TIM1->CCR1 = i;
		sprintf(fan_speed,"Fan Speed : %02d",sp);
		osDelay(10);
	}
    osDelay(1);
  }
  /* USER CODE END Start_FanControl */
}

/* USER CODE BEGIN Header_Start_Temp */
/**
* @brief Function implementing the TempReading_Tas thread.
* @param argument: Not used
* @retval None
*/
float temperature;
char string[64];
/* USER CODE END Header_Start_Temp */
void Start_Temp(void const * argument)
{
  /* USER CODE BEGIN Start_Temp */
  /* Infinite loop */
	DS18B20_Init(DS18B20_Resolution_12bits);

  for(;;)
  {
	  DS18B20_ReadAll();
	  DS18B20_StartAll();
	uint8_t ROM_tmp[8];
	uint8_t i;
	  for(i = 0; i < DS18B20_Quantity(); i++)
	  		{
	  			if(DS18B20_GetTemperature(i, &temperature))
	  			{
	  				DS18B20_GetROM(i, ROM_tmp);
	  			}
	  		}

    osDelay(100);
  }
  /* USER CODE END Start_Temp */
}

void HAL_TIM_PeriodElapsedCallback(TIM_HandleTypeDef *htim)
{
  if (htim->Instance == TIM2) {
    HAL_IncTick();
  }
}

void Error_Handler(void)
{
  __disable_irq();
  while (1)
  {
  }
}
